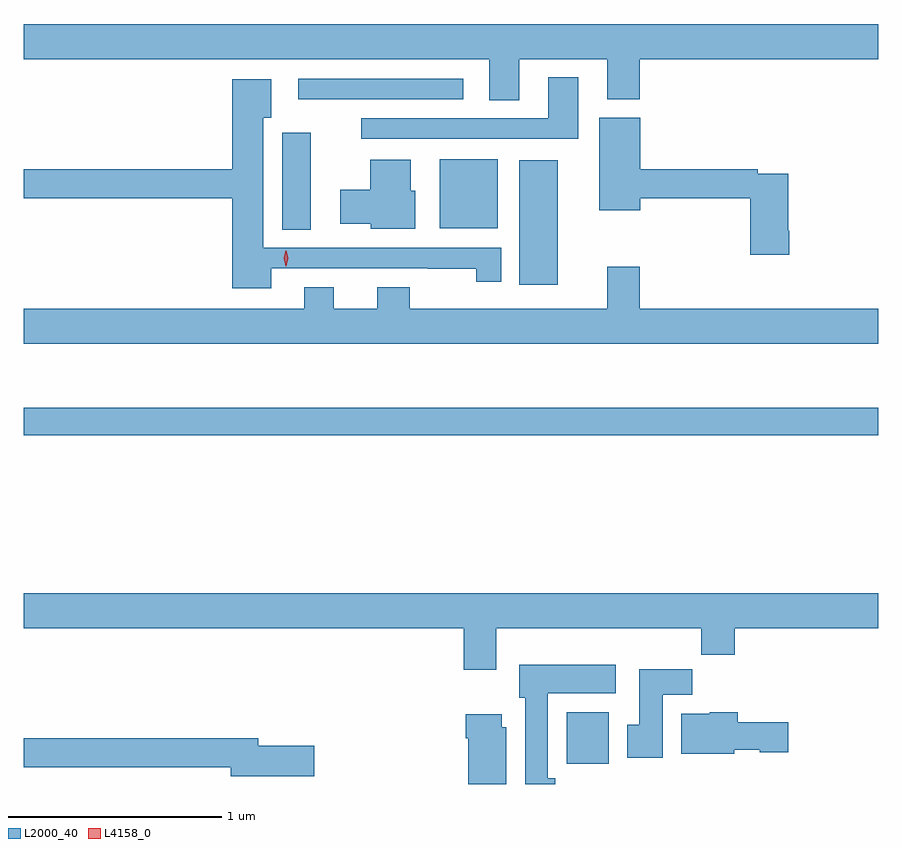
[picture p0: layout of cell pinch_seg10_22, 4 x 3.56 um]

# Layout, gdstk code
import gdstk
lib = gdstk.Library(unit=1e-6, precision=1e-09)
def R(c, l, rs):  # rectangles x0, y0, x1, y1
    for r in rs: c.add(gdstk.rectangle(r[:2], r[2:], *l))
def P(c, l, *ps):  # polygons
    for p in ps: c.add(gdstk.Polygon(p, *l))
L2000_40 = (2000, 40)
L4158_0 = (4158, 0)

pinch_seg10_22 = lib.new_cell('pinch_seg10_22')
R(pinch_seg10_22, L2000_40, [(951.686,1282.364,951.883,1282.606), (949.144,1283.902,953.144,1284.031), (951.464,1284.608,951.643,1285.189), (950.354,1284.865,950.488,1285.318), (951.092,1284.872,951.364,1285.195), (950.43,1285.476,951.202,1285.572)])
P(pinch_seg10_22, L2000_40, [(951.463,1285.664),(951.875,1285.664),(951.875,1285.475),(952.028,1285.475),(952.028,1285.664),(953.144,1285.664),(953.144,1285.828),(949.144,1285.828),(949.144,1285.664),(951.323,1285.664),(951.323,1285.471),(951.463,1285.471)],
  [(951.739,1285.579),(951.599,1285.579),(951.599,1285.386),(950.724,1285.386),(950.724,1285.29),(951.739,1285.29)],
  [(950.302,1284.684),(951.034,1284.684),(951.034,1284.683),(951.262,1284.683),(951.262,1284.621),(951.379,1284.621),(951.379,1284.78),(950.266,1284.78),(950.266,1285.388),(950.302,1285.388),(950.302,1285.57),(950.12,1285.57),(950.12,1285.148),(949.144,1285.148),(949.144,1285.012),(950.12,1285.012),(950.12,1284.59),(950.302,1284.59)],
  [(952.727,1284.859),(952.722,1284.859),(952.722,1285.128),(952.58,1285.128),(952.58,1285.148),(952.03,1285.148),(952.03,1285.39),(951.839,1285.39),(951.839,1284.956),(952.03,1284.956),(952.03,1285.012),(952.544,1285.012),(952.544,1284.747),(952.727,1284.747)],
  [(950.977,1285.047),(950.956,1285.047),(950.956,1285.192),(950.765,1285.192),(950.765,1285.051),(950.625,1285.051),(950.625,1284.893),(950.769,1284.893),(950.769,1284.869),(950.977,1284.869)],
  [(953.144,1284.496),(952.028,1284.496),(952.028,1284.691),(951.875,1284.691),(951.875,1284.496),(950.951,1284.496),(950.951,1284.595),(950.798,1284.595),(950.798,1284.496),(950.596,1284.496),(950.596,1284.595),(950.456,1284.595),(950.456,1284.496),(949.144,1284.496),(949.144,1284.332),(953.144,1284.332)],
  [(951.355,1283),(952.315,1283),(952.315,1282.876),(952.472,1282.876),(952.472,1283),(953.144,1283),(953.144,1283.164),(949.144,1283.164),(949.144,1283),(951.203,1283),(951.203,1282.806),(951.355,1282.806)],
  [(951.631,1282.298),(951.598,1282.298),(951.598,1282.694),(951.916,1282.694),(951.916,1282.828),(951.464,1282.828),(951.464,1282.674),(951.491,1282.674),(951.491,1282.27),(951.631,1282.27)],
  [(952.135,1282.688),(952.274,1282.688),(952.274,1282.807),(952.025,1282.807),(952.025,1282.548),(951.968,1282.548),(951.968,1282.392),(952.135,1282.392)],
  [(952.47,1282.43),(952.59,1282.43),(952.59,1282.418),(952.723,1282.418),(952.723,1282.56),(952.487,1282.56),(952.487,1282.606),(952.356,1282.606),(952.356,1282.6),(952.223,1282.6),(952.223,1282.412),(952.47,1282.412)],
  [(951.403,1282.536),(951.382,1282.536),(951.382,1282.597),(951.212,1282.597),(951.212,1282.484),(951.224,1282.484),(951.224,1282.27),(951.403,1282.27)],
  [(950.503,1282.448),(950.242,1282.448),(950.242,1282.484),(949.144,1282.484),(949.144,1282.348),(950.114,1282.348),(950.114,1282.306),(950.503,1282.306)])
P(pinch_seg10_22, L4158_0, [(950.371,1284.695),(950.371,1284.695),(950.361,1284.731),(950.371,1284.767),(950.371,1284.767),(950.372,1284.767),(950.381,1284.731),(950.372,1284.695)])

lib.write_gds('pinch_seg10_22.gds')
